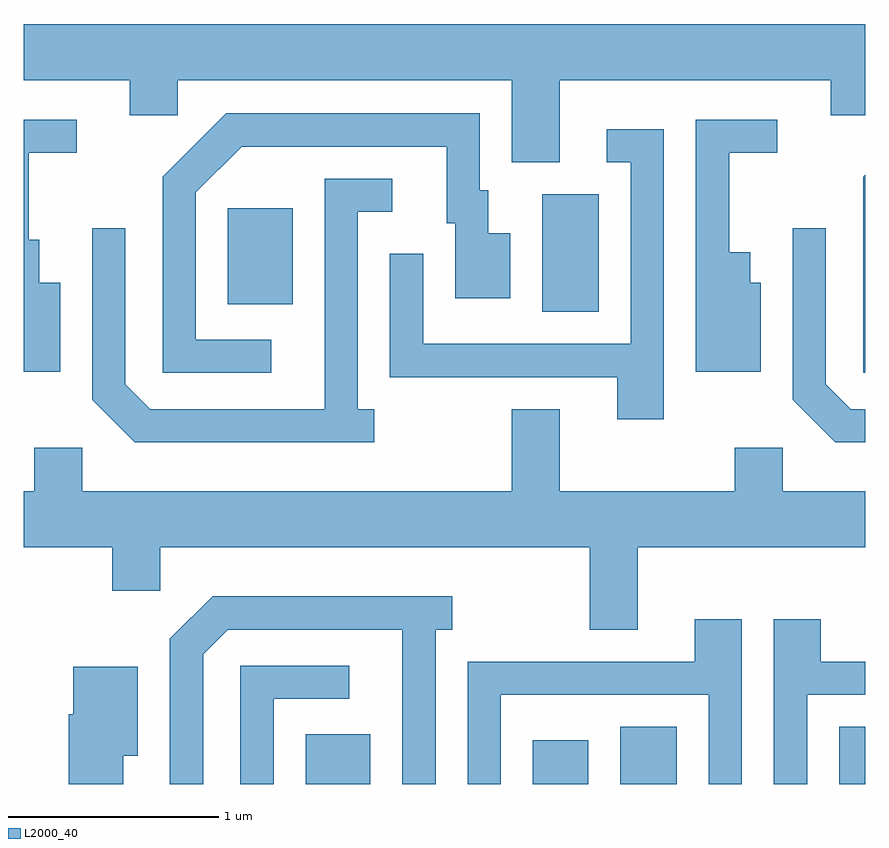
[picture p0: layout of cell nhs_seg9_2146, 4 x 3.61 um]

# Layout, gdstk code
import gdstk
lib = gdstk.Library(unit=1e-6, precision=1e-09)
def R(c, l, rs):  # rectangles x0, y0, x1, y1
    for r in rs: c.add(gdstk.rectangle(r[:2], r[2:], *l))
def P(c, l, *ps):  # polygons
    for p in ps: c.add(gdstk.Polygon(p, *l))
L2000_40 = (2000, 40)

nhs_seg9_2146 = lib.new_cell('nhs_seg9_2146')
R(nhs_seg9_2146, L2000_40, [(248.951,2028.432,249.259,2028.669), (250.031,2028.432,250.294,2028.639), (250.446,2028.432,250.714,2028.704), (251.486,2028.432,251.611,2028.704), (250.076,2030.676,250.344,2031.234), (248.581,2030.711,248.889,2031.169)])
P(nhs_seg9_2146, L2000_40, [(247.611,2031.776),(248.116,2031.776),(248.116,2031.611),(248.344,2031.611),(248.344,2031.776),(249.931,2031.776),(249.931,2031.386),(250.159,2031.386),(250.159,2031.776),(251.446,2031.776),(251.446,2031.611),(251.611,2031.611),(251.611,2032.044),(247.611,2032.044)],
  [(248.788,2030.544),(248.429,2030.544),(248.429,2031.244),(248.647,2031.461),(249.621,2031.461),(249.621,2031.096),(249.661,2031.096),(249.661,2030.741),(249.924,2030.741),(249.924,2031.049),(249.819,2031.049),(249.819,2031.254),(249.779,2031.254),(249.779,2031.619),(248.574,2031.619),(248.271,2031.317),(248.271,2030.386),(248.788,2030.386)],
  [(251.114,2030.814),(251.064,2030.814),(251.064,2030.959),(250.964,2030.959),(250.964,2031.431),(251.193,2031.431),(251.193,2031.589),(250.806,2031.589),(250.806,2030.391),(251.114,2030.391)],
  [(247.784,2030.814),(247.684,2030.814),(247.684,2031.019),(247.634,2031.019),(247.634,2031.431),(247.863,2031.431),(247.863,2031.589),(247.611,2031.589),(247.611,2030.391),(247.784,2030.391)],
  [(250.654,2031.544),(250.383,2031.544),(250.383,2031.386),(250.496,2031.386),(250.496,2030.524),(249.509,2030.524),(249.509,2030.953),(249.351,2030.953),(249.351,2030.366),(250.431,2030.366),(250.431,2030.166),(250.654,2030.166)],
  [(251.611,2031.327),(251.601,2031.317),(251.601,2030.386),(251.611,2030.386)],
  [(249.278,2030.214),(249.199,2030.214),(249.199,2031.151),(249.363,2031.151),(249.363,2031.309),(249.041,2031.309),(249.041,2030.214),(248.212,2030.214),(248.094,2030.332),(248.094,2031.073),(247.936,2031.073),(247.936,2030.259),(248.139,2030.056),(249.278,2030.056)],
  [(251.611,2030.214),(251.542,2030.214),(251.424,2030.332),(251.424,2031.073),(251.266,2031.073),(251.266,2030.259),(251.469,2030.056),(251.611,2030.056)],
  [(250.529,2029.556),(251.611,2029.556),(251.611,2029.824),(251.219,2029.824),(251.219,2030.029),(250.991,2030.029),(250.991,2029.824),(250.159,2029.824),(250.159,2030.214),(249.931,2030.214),(249.931,2029.824),(247.889,2029.824),(247.889,2030.029),(247.661,2030.029),(247.661,2029.824),(247.611,2029.824),(247.611,2029.556),(248.031,2029.556),(248.031,2029.351),(248.259,2029.351),(248.259,2029.556),(250.301,2029.556),(250.301,2029.166),(250.529,2029.166)],
  [(248.464,2029.049),(248.582,2029.166),(249.411,2029.166),(249.411,2028.432),(249.569,2028.432),(249.569,2029.166),(249.648,2029.166),(249.648,2029.324),(248.509,2029.324),(248.306,2029.122),(248.306,2028.432),(248.464,2028.432)],
  [(251.334,2028.856),(251.611,2028.856),(251.611,2029.014),(251.399,2029.014),(251.399,2029.214),(251.176,2029.214),(251.176,2028.432),(251.334,2028.432)],
  [(249.879,2028.856),(250.866,2028.856),(250.866,2028.432),(251.024,2028.432),(251.024,2029.214),(250.801,2029.214),(250.801,2029.014),(249.721,2029.014),(249.721,2028.432),(249.879,2028.432)],
  [(248.799,2028.836),(249.158,2028.836),(249.158,2028.994),(248.641,2028.994),(248.641,2028.432),(248.799,2028.432)],
  [(248.084,2028.566),(248.154,2028.566),(248.154,2028.989),(247.846,2028.989),(247.846,2028.764),(247.826,2028.764),(247.826,2028.432),(248.084,2028.432)])

lib.write_gds('nhs_seg9_2146.gds')
